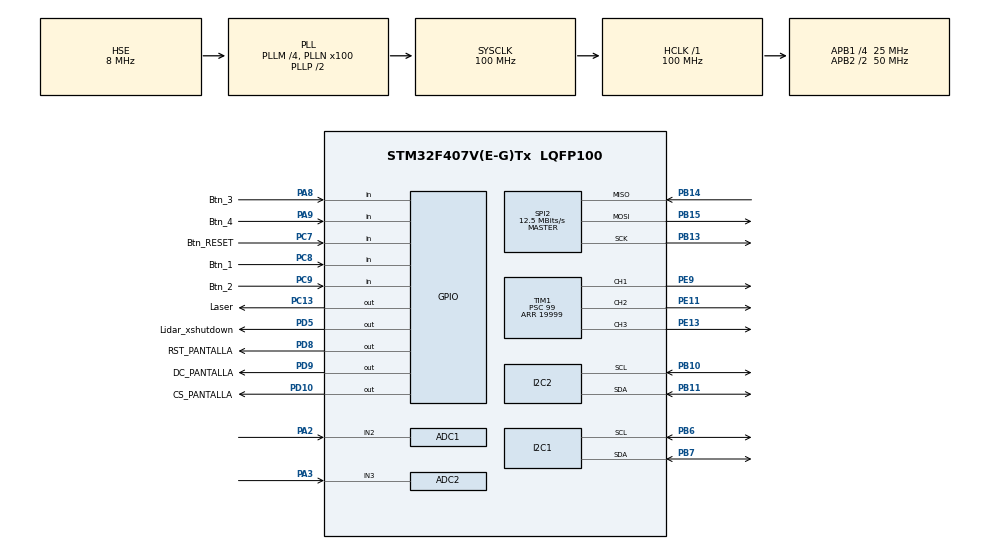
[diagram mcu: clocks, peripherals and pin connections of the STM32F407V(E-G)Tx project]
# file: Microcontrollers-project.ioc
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ADC1.Channel-0\#ChannelRegularConversion=ADC_CHANNEL_2
ADC1.ClockPrescaler=ADC_CLOCK_SYNC_PCLK_DIV4
ADC1.ContinuousConvMode=DISABLE
ADC1.NbrOfConversionFlag=1
ADC1.Rank-0\#ChannelRegularConversion=1
ADC1.SamplingTime-0\#ChannelRegularConversion=ADC_SAMPLETIME_84CYCLES
ADC1.ScanConvMode=ENABLE
ADC1.master=1
ADC2.Channel-0\#ChannelRegularConversion=ADC_CHANNEL_3
ADC2.ClockPrescaler=ADC_CLOCK_SYNC_PCLK_DIV4
ADC2.ContinuousConvMode=DISABLE
ADC2.NbrOfConversionFlag=1
ADC2.Rank-0\#ChannelRegularConversion=1
ADC2.SamplingTime-0\#ChannelRegularConversion=ADC_SAMPLETIME_84CYCLES
ADC2.ScanConvMode=ENABLE
Dma.Request0=SPI2_TX
Dma.SPI2_TX.0.Direction=DMA_MEMORY_TO_PERIPH
Dma.SPI2_TX.0.FIFOMode=DMA_FIFOMODE_ENABLE
Dma.SPI2_TX.0.FIFOThreshold=DMA_FIFO_THRESHOLD_FULL
Dma.SPI2_TX.0.Instance=DMA1_Stream4
Dma.SPI2_TX.0.MemBurst=DMA_MBURST_SINGLE
Dma.SPI2_TX.0.MemDataAlignment=DMA_MDATAALIGN_BYTE
Dma.SPI2_TX.0.MemInc=DMA_MINC_ENABLE
Dma.SPI2_TX.0.Mode=DMA_NORMAL
Dma.SPI2_TX.0.PeriphBurst=DMA_PBURST_SINGLE
Dma.SPI2_TX.0.PeriphDataAlignment=DMA_PDATAALIGN_BYTE
Dma.SPI2_TX.0.PeriphInc=DMA_PINC_DISABLE
Dma.SPI2_TX.0.Priority=DMA_PRIORITY_LOW
Mcu.Family=STM32F4
Mcu.Name=STM32F407V(E-G)Tx
Mcu.Package=LQFP100
NVIC.DMA1_Stream4_IRQn=true\:0\:0\:false\:false\:true\:false\:true\:true
NVIC.PriorityGroup=NVIC_PRIORITYGROUP_0
NVIC.SPI2_IRQn=true\:0\:0\:false\:false\:true\:true\:true\:true
PA2.Signal=ADCx_IN2
PA3.Signal=ADCx_IN3
PA8.GPIO_Label=Btn_3
PA8.GPIO_PuPd=GPIO_PULLUP
PA8.Signal=GPIO_Input
PA9.GPIO_Label=Btn_4
PA9.GPIO_PuPd=GPIO_PULLUP
PA9.Signal=GPIO_Input
PB10.Mode=I2C
PB10.Signal=I2C2_SCL
PB11.Mode=I2C
PB11.Signal=I2C2_SDA
PB13.Mode=Full_Duplex_Master
PB13.Signal=SPI2_SCK
PB14.Mode=Full_Duplex_Master
PB14.Signal=SPI2_MISO
PB15.Mode=Full_Duplex_Master
PB15.Signal=SPI2_MOSI
PB6.Mode=I2C
PB6.Signal=I2C1_SCL
PB7.Mode=I2C
PB7.Signal=I2C1_SDA
PC13-ANTI_TAMP.GPIO_Label=Laser
PC13-ANTI_TAMP.Signal=GPIO_Output
PC7.GPIO_Label=Btn_RESET
PC7.GPIO_PuPd=GPIO_PULLUP
PC7.Signal=GPIO_Input
PC8.GPIO_Label=Btn_1
PC8.GPIO_PuPd=GPIO_PULLUP
PC8.Signal=GPIO_Input
PC9.GPIO_Label=Btn_2
PC9.GPIO_PuPd=GPIO_PULLUP
PC9.Signal=GPIO_Input
PD10.GPIO_Label=CS_PANTALLA
PD10.Signal=GPIO_Output
PD5.GPIO_Label=Lidar_xshutdown
PD5.Signal=GPIO_Output
PD8.GPIO_Label=RST_PANTALLA
PD8.Signal=GPIO_Output
PD9.GPIO_Label=DC_PANTALLA
PD9.Signal=GPIO_Output
PE11.Signal=S_TIM1_CH2
PE13.Signal=S_TIM1_CH3
PE9.Signal=S_TIM1_CH1
PH0-OSC_IN.Mode=HSE-External-Oscillator
PH0-OSC_IN.Signal=RCC_OSC_IN
PH1-OSC_OUT.Mode=HSE-External-Oscillator
PH1-OSC_OUT.Signal=RCC_OSC_OUT
ProjectManager.HeapSize=0x200
ProjectManager.StackSize=0x400
ProjectManager.TargetToolchain=STM32CubeIDE
RCC.48MHZClocksFreq_Value=28571428.57142857
RCC.AHBFreq_Value=100000000
RCC.APB1CLKDivider=RCC_HCLK_DIV4
RCC.APB1Freq_Value=25000000
RCC.APB1TimFreq_Value=50000000
RCC.APB2CLKDivider=RCC_HCLK_DIV2
RCC.APB2Freq_Value=50000000
RCC.APB2TimFreq_Value=100000000
RCC.CortexFreq_Value=100000000
RCC.HCLKFreq_Value=100000000
RCC.HSE_VALUE=8000000
RCC.HSI_VALUE=16000000
RCC.LSE_VALUE=32768
RCC.PLLM=4
RCC.PLLN=100
RCC.PLLQ=7
RCC.PLLSourceVirtual=RCC_PLLSOURCE_HSE
RCC.SYSCLKFreq_VALUE=100000000
RCC.SYSCLKSource=RCC_SYSCLKSOURCE_PLLCLK
RCC.VCOOutputFreq_Value=200000000
SH.ADCx_IN2.0=ADC1_IN2,IN2
SH.ADCx_IN3.0=ADC2_IN3,IN3
SH.S_TIM1_CH1.0=TIM1_CH1,PWM Generation1 CH1
SH.S_TIM1_CH2.0=TIM1_CH2,PWM Generation2 CH2
SH.S_TIM1_CH3.0=TIM1_CH3,PWM Generation3 CH3
SPI2.BaudRatePrescaler=SPI_BAUDRATEPRESCALER_2
SPI2.CLKPolarity=SPI_POLARITY_LOW
SPI2.CalculateBaudRate=12.5 MBits/s
SPI2.Direction=SPI_DIRECTION_2LINES
SPI2.Mode=SPI_MODE_MASTER
SPI2.VirtualType=VM_MASTER
TIM1.Channel-PWM\ Generation1\ CH1=TIM_CHANNEL_1
TIM1.Channel-PWM\ Generation2\ CH2=TIM_CHANNEL_2
TIM1.Channel-PWM\ Generation3\ CH3=TIM_CHANNEL_3
TIM1.Period=19999
TIM1.Prescaler=99
VP_TIM1_VS_ClockSourceINT.Mode=Internal
board=STM32F407G-DISC1

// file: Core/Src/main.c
/* USER CODE BEGIN Header */
/**
  ******************************************************************************
  * @file           : main.c
  * @brief          : Main program body
  ******************************************************************************
  * @attention
  *
  * Copyright (c) 2025 STMicroelectronics.
  * All rights reserved.
  *
  * This software is licensed under terms that can be found in the LICENSE file
  * in the root directory of this software component.
  * If no LICENSE file comes with this software, it is provided AS-IS.
  *
  ******************************************************************************
  */
/* USER CODE END Header */
#include "main.h"

/* USER CODE BEGIN Includes */
#include "sensor_distancia.h"
#include "Radar.h"
#include "Laser.h"
#include "posicion_pool.h"
#include "mapa.h"
#include <stdio.h>
#include <string.h>
#include "liquidcrystal_i2c.h"
#include "lcd.h"
#include "botones.h"
#include "system_vars.h"
#include "menus.h"
/* USER CODE END Includes */

ADC_HandleTypeDef hadc1;
ADC_HandleTypeDef hadc2;

I2C_HandleTypeDef hi2c1;
I2C_HandleTypeDef hi2c2;

SPI_HandleTypeDef hspi2;
DMA_HandleTypeDef hdma_spi2_tx;

TIM_HandleTypeDef htim1;

/* USER CODE BEGIN PV */

  // Sensor de distancia
  VL53L0X_RangingMeasurementData_t RangingData;

  //generales
  uint16_t num_objetivos;
  uint16_t num_abatidos;

   uint8_t flag_boton_siguiente_objetivo=0;
   uint8_t flag_disparo=0;

  FireMode modo_disparo;
  RotMode  modo_rotacion;

  uint16_t grados_rot;
  uint16_t distancia_maxima=1500;
  uint16_t distancia_minima=100;
  uint16_t distancia_actual;

  //variables Potenciometro ADC
  volatile uint16_t  lectura_pote_1;
  volatile uint16_t  lectura_pote_2;
  volatile uint8_t  adc_ready_1 = 0;
  volatile uint8_t  adc_ready_2 = 0;

  //botones
  Boton b_cambio_menu;
  Boton b_seleccion_menu;
  Boton b_seleccion_objetivo;
  Boton b_disparo;
  Boton b_RESET;

/* USER CODE END PV */

void SystemClock_Config(void);
static void MX_GPIO_Init(void);
static void MX_DMA_Init(void);
static void MX_I2C1_Init(void);
static void MX_SPI2_Init(void);
static void MX_ADC1_Init(void);
static void MX_ADC2_Init(void);
static void MX_I2C2_Init(void);
static void MX_TIM1_Init(void);

/* USER CODE BEGIN 0 */

//Potenciometro ADC
void ADC_IRQHandler(void)
{
  HAL_ADC_IRQHandler(&hadc1);
  HAL_ADC_IRQHandler(&hadc2);
}

void HAL_ADC_ConvCpltCallback(ADC_HandleTypeDef *hadc)
{
  if (hadc->Instance == ADC1)
  {
    lectura_pote_1 = (uint16_t)HAL_ADC_GetValue(hadc);
    adc_ready_1 = 1;
    //HAL_ADC_Start_IT(&hadc1);
  }
  else if (hadc->Instance == ADC2)
  {
    lectura_pote_2 = (uint16_t)HAL_ADC_GetValue(hadc);
    adc_ready_2 = 1;
    //HAL_ADC_Start_IT(&hadc2);
  }
}

/* USER CODE END 0 */

int main(void)
{

  /* MCU Configuration--------------------------------------------------------*/

  /* Reset of all peripherals, Initializes the Flash interface and the Systick. */
  HAL_Init();

  /* USER CODE BEGIN Init */

  //uint8_t flag_modo_manual = 1; //funcionamiento de la torreta deetrminado por modo manual o automatico. HAY QUE ASIGNARLE SWICH
  //uint8_t flag_disparo = 0;

 // Posicion* Objetivo;
  //int angulo_Laser_Horizontal = 1000;

  /* USER CODE END Init */

  /* Configure the system clock */
  SystemClock_Config();

  /* Initialize all configured peripherals */
  MX_GPIO_Init();
  MX_DMA_Init();
  MX_I2C1_Init();
  MX_SPI2_Init();
  MX_ADC1_Init();
  MX_ADC2_Init();
  MX_I2C2_Init();
  MX_TIM1_Init();
  /* USER CODE BEGIN 2 */
  HAL_TIM_PWM_Start(&htim1, TIM_CHANNEL_1);	// Posicion del radar
  HAL_TIM_PWM_Start(&htim1, TIM_CHANNEL_2);	// Posicion horizontal del laser
  HAL_TIM_PWM_Start(&htim1, TIM_CHANNEL_3);	// Posicion verticar del laser

  pool_init();
  mapa_init();
  LidarPreparacionFuncionamiento(&hi2c1);

  //Potenciometro ADC
  HAL_NVIC_EnableIRQ(ADC_IRQn);

  if (HAL_ADC_Start_IT(&hadc1) != HAL_OK)
  {
	  Error_Handler();
  }
  if (HAL_ADC_Start_IT(&hadc2) != HAL_OK)
  {
  	  Error_Handler();
  }

  //Botones
  Boton_Init(&b_cambio_menu, GPIOC, Btn_1_Pin, 0);             //pull-up interno
  Boton_Init(&b_seleccion_menu,  GPIOC, Btn_2_Pin, 0);         //pull-up interno
  Boton_Init(&b_seleccion_objetivo,  GPIOA, Btn_3_Pin, 0);     //pull-up interno
  Boton_Init(&b_disparo,  GPIOA, Btn_4_Pin, 0);                //pull-up interno
  Boton_Init(&b_RESET,  GPIOC, Btn_RESET_Pin, 0);                  //pull-up interno

  //Inicializacion archivos LCD
  HD44780_Init(2);
  LCD_Init();

  /* USER CODE END 2 */

  /* Infinite loop */
  while (1)
  {

    /* USER CODE BEGIN 3 */
	movimiento_radar(&RangingData, &htim1, 10);	// mueve un step el motor el sensor mide la distancia y guarda los datos

//-------------------------CODE POTES (INTERRUPCIONES) ----------------------------------

    //prueba potes
    if (adc_ready_1)
    {
    	adc_ready_1 = 0;
    	grados_rot = (uint16_t)((lectura_pote_1 * 2500U) / 4095U);
    }
    if (adc_ready_2)
    {
        adc_ready_2 = 0;
        distancia_actual = (uint16_t)(distancia_minima + ((lectura_pote_2 * (distancia_maxima - distancia_minima)) / 4095U));
    }
    static uint32_t t_adc = 0;

    //hacemos que se relancen las interrupciones cada 10ms para no comer la CPU
    if (HAL_GetTick() - t_adc >= 10) {
      t_adc = HAL_GetTick();
      HAL_ADC_Start_IT(&hadc1);
      HAL_ADC_Start_IT(&hadc2);
    }

//---------------------------------------------------------------------------------------

    //las cositas de ainara

        	radar_rotacion_mode(grados_rot);
            mapa_dibuja(); //dibuja los objetivos

//---------------------------------------------------------------------------------------

    //usamos los botones para interactuar con el menu
    uint32_t now = HAL_GetTick();
   	BtnEvent evM = Boton_Update(&b_cambio_menu, now);
   	BtnEvent evS = Boton_Update(&b_seleccion_menu,  now);
   	BtnEvent evR = Boton_Update(&b_RESET,  now);

   	//botones laser
   	BtnEvent ev_boton_disparo = Boton_Update(&b_disparo, now);
   	BtnEvent ev_boton_siguiente_objetivo = Boton_Update(&b_seleccion_objetivo, now);

   	laser_rotacion_mode(&htim1, &ev_boton_siguiente_objetivo, &ev_boton_disparo);

   	//actualizamos menu
   	Menus_Task(&htim1, evM, evS, evR, now);

   	//actualizamos LCD para mostrar cambios
   	LCD_Task();

   	// Funcion del reset general que llame al resto de resets y sea bloqueante
   	BtnEvent reset = Boton_Update(&b_RESET, now);
   	if(reset == BTN_EVENT_SHORT){

   		// aqui falta el menu reset

   	}

  }
  /* USER CODE END 3 */
}

void SystemClock_Config(void)
{
  RCC_OscInitTypeDef RCC_OscInitStruct = {0};
  RCC_ClkInitTypeDef RCC_ClkInitStruct = {0};

  /** Configure the main internal regulator output voltage
  */
  __HAL_RCC_PWR_CLK_ENABLE();
  __HAL_PWR_VOLTAGESCALING_CONFIG(PWR_REGULATOR_VOLTAGE_SCALE1);

  /** Initializes the RCC Oscillators according to the specified parameters
  * in the RCC_OscInitTypeDef structure.
  */
  RCC_OscInitStruct.OscillatorType = RCC_OSCILLATORTYPE_HSE;
  RCC_OscInitStruct.HSEState = RCC_HSE_ON;
  RCC_OscInitStruct.PLL.PLLState = RCC_PLL_ON;
  RCC_OscInitStruct.PLL.PLLSource = RCC_PLLSOURCE_HSE;
  RCC_OscInitStruct.PLL.PLLM = 4;
  RCC_OscInitStruct.PLL.PLLN = 100;
  RCC_OscInitStruct.PLL.PLLP = RCC_PLLP_DIV2;
  RCC_OscInitStruct.PLL.PLLQ = 7;
  if (HAL_RCC_OscConfig(&RCC_OscInitStruct) != HAL_OK)
  {
    Error_Handler();
  }

  /** Initializes the CPU, AHB and APB buses clocks
  */
  RCC_ClkInitStruct.ClockType = RCC_CLOCKTYPE_HCLK|RCC_CLOCKTYPE_SYSCLK
                              |RCC_CLOCKTYPE_PCLK1|RCC_CLOCKTYPE_PCLK2;
  RCC_ClkInitStruct.SYSCLKSource = RCC_SYSCLKSOURCE_PLLCLK;
  RCC_ClkInitStruct.AHBCLKDivider = RCC_SYSCLK_DIV1;
  RCC_ClkInitStruct.APB1CLKDivider = RCC_HCLK_DIV4;
  RCC_ClkInitStruct.APB2CLKDivider = RCC_HCLK_DIV2;

  if (HAL_RCC_ClockConfig(&RCC_ClkInitStruct, FLASH_LATENCY_3) != HAL_OK)
  {
    Error_Handler();
  }
}

static void MX_ADC1_Init(void)
{

  ADC_ChannelConfTypeDef sConfig = {0};

  /** Configure the global features of the ADC (Clock, Resolution, Data Alignment and number of conversion)
  */
  hadc1.Instance = ADC1;
  hadc1.Init.ClockPrescaler = ADC_CLOCK_SYNC_PCLK_DIV4;
  hadc1.Init.Resolution = ADC_RESOLUTION_12B;
  hadc1.Init.ScanConvMode = ENABLE;
  hadc1.Init.ContinuousConvMode = DISABLE;
  hadc1.Init.DiscontinuousConvMode = DISABLE;
  hadc1.Init.ExternalTrigConvEdge = ADC_EXTERNALTRIGCONVEDGE_NONE;
  hadc1.Init.ExternalTrigConv = ADC_SOFTWARE_START;
  hadc1.Init.DataAlign = ADC_DATAALIGN_RIGHT;
  hadc1.Init.NbrOfConversion = 1;
  hadc1.Init.DMAContinuousRequests = DISABLE;
  hadc1.Init.EOCSelection = ADC_EOC_SINGLE_CONV;
  if (HAL_ADC_Init(&hadc1) != HAL_OK)
  {
    Error_Handler();
  }

  /** Configure for the selected ADC regular channel its corresponding rank in the sequencer and its sample time.
  */
  sConfig.Channel = ADC_CHANNEL_2;
  sConfig.Rank = 1;
  sConfig.SamplingTime = ADC_SAMPLETIME_84CYCLES;
  if (HAL_ADC_ConfigChannel(&hadc1, &sConfig) != HAL_OK)
  {
    Error_Handler();
  }

}

static void MX_ADC2_Init(void)
{

  ADC_ChannelConfTypeDef sConfig = {0};

  /** Configure the global features of the ADC (Clock, Resolution, Data Alignment and number of conversion)
  */
  hadc2.Instance = ADC2;
  hadc2.Init.ClockPrescaler = ADC_CLOCK_SYNC_PCLK_DIV4;
  hadc2.Init.Resolution = ADC_RESOLUTION_12B;
  hadc2.Init.ScanConvMode = ENABLE;
  hadc2.Init.ContinuousConvMode = DISABLE;
  hadc2.Init.DiscontinuousConvMode = DISABLE;
  hadc2.Init.ExternalTrigConvEdge = ADC_EXTERNALTRIGCONVEDGE_NONE;
  hadc2.Init.ExternalTrigConv = ADC_SOFTWARE_START;
  hadc2.Init.DataAlign = ADC_DATAALIGN_RIGHT;
  hadc2.Init.NbrOfConversion = 1;
  hadc2.Init.DMAContinuousRequests = DISABLE;
  hadc2.Init.EOCSelection = ADC_EOC_SINGLE_CONV;
  if (HAL_ADC_Init(&hadc2) != HAL_OK)
  {
    Error_Handler();
  }

  /** Configure for the selected ADC regular channel its corresponding rank in the sequencer and its sample time.
  */
  sConfig.Channel = ADC_CHANNEL_3;
  sConfig.Rank = 1;
  sConfig.SamplingTime = ADC_SAMPLETIME_84CYCLES;
  if (HAL_ADC_ConfigChannel(&hadc2, &sConfig) != HAL_OK)
  {
    Error_Handler();
  }

}

static void MX_I2C1_Init(void)
{

  hi2c1.Instance = I2C1;
  hi2c1.Init.ClockSpeed = 100000;
  hi2c1.Init.DutyCycle = I2C_DUTYCYCLE_2;
  hi2c1.Init.OwnAddress1 = 0;
  hi2c1.Init.AddressingMode = I2C_ADDRESSINGMODE_7BIT;
  hi2c1.Init.DualAddressMode = I2C_DUALADDRESS_DISABLE;
  hi2c1.Init.OwnAddress2 = 0;
  hi2c1.Init.GeneralCallMode = I2C_GENERALCALL_DISABLE;
  hi2c1.Init.NoStretchMode = I2C_NOSTRETCH_DISABLE;
  if (HAL_I2C_Init(&hi2c1) != HAL_OK)
  {
    Error_Handler();
  }

}

static void MX_I2C2_Init(void)
{

  hi2c2.Instance = I2C2;
  hi2c2.Init.ClockSpeed = 100000;
  hi2c2.Init.DutyCycle = I2C_DUTYCYCLE_2;
  hi2c2.Init.OwnAddress1 = 0;
  hi2c2.Init.AddressingMode = I2C_ADDRESSINGMODE_7BIT;
  hi2c2.Init.DualAddressMode = I2C_DUALADDRESS_DISABLE;
  hi2c2.Init.OwnAddress2 = 0;
  hi2c2.Init.GeneralCallMode = I2C_GENERALCALL_DISABLE;
  hi2c2.Init.NoStretchMode = I2C_NOSTRETCH_DISABLE;
  if (HAL_I2C_Init(&hi2c2) != HAL_OK)
  {
    Error_Handler();
  }

}

static void MX_SPI2_Init(void)
{

  /* SPI2 parameter configuration*/
  hspi2.Instance = SPI2;
  hspi2.Init.Mode = SPI_MODE_MASTER;
  hspi2.Init.Direction = SPI_DIRECTION_2LINES;
  hspi2.Init.DataSize = SPI_DATASIZE_8BIT;
  hspi2.Init.CLKPolarity = SPI_POLARITY_LOW;
  hspi2.Init.CLKPhase = SPI_PHASE_1EDGE;
  hspi2.Init.NSS = SPI_NSS_SOFT;
  hspi2.Init.BaudRatePrescaler = SPI_BAUDRATEPRESCALER_2;
  hspi2.Init.FirstBit = SPI_FIRSTBIT_MSB;
  hspi2.Init.TIMode = SPI_TIMODE_DISABLE;
  hspi2.Init.CRCCalculation = SPI_CRCCALCULATION_DISABLE;
  hspi2.Init.CRCPolynomial = 10;
  if (HAL_SPI_Init(&hspi2) != HAL_OK)
  {
    Error_Handler();
  }

}

static void MX_TIM1_Init(void)
{

  TIM_ClockConfigTypeDef sClockSourceConfig = {0};
  TIM_MasterConfigTypeDef sMasterConfig = {0};
  TIM_OC_InitTypeDef sConfigOC = {0};
  TIM_BreakDeadTimeConfigTypeDef sBreakDeadTimeConfig = {0};

  htim1.Instance = TIM1;
  htim1.Init.Prescaler = 99;
  htim1.Init.CounterMode = TIM_COUNTERMODE_UP;
  htim1.Init.Period = 19999;
  htim1.Init.ClockDivision = TIM_CLOCKDIVISION_DIV1;
  htim1.Init.RepetitionCounter = 0;
  htim1.Init.AutoReloadPreload = TIM_AUTORELOAD_PRELOAD_DISABLE;
  if (HAL_TIM_Base_Init(&htim1) != HAL_OK)
  {
    Error_Handler();
  }
  sClockSourceConfig.ClockSource = TIM_CLOCKSOURCE_INTERNAL;
  if (HAL_TIM_ConfigClockSource(&htim1, &sClockSourceConfig) != HAL_OK)
  {
    Error_Handler();
  }
  if (HAL_TIM_PWM_Init(&htim1) != HAL_OK)
  {
    Error_Handler();
  }
  sMasterConfig.MasterOutputTrigger = TIM_TRGO_RESET;
  sMasterConfig.MasterSlaveMode = TIM_MASTERSLAVEMODE_DISABLE;
  if (HAL_TIMEx_MasterConfigSynchronization(&htim1, &sMasterConfig) != HAL_OK)
  {
    Error_Handler();
  }
  sConfigOC.OCMode = TIM_OCMODE_PWM1;
  sConfigOC.Pulse = 0;
  sConfigOC.OCPolarity = TIM_OCPOLARITY_HIGH;
  sConfigOC.OCNPolarity = TIM_OCNPOLARITY_HIGH;
  sConfigOC.OCFastMode = TIM_OCFAST_DISABLE;
  sConfigOC.OCIdleState = TIM_OCIDLESTATE_RESET;
  sConfigOC.OCNIdleState = TIM_OCNIDLESTATE_RESET;
  if (HAL_TIM_PWM_ConfigChannel(&htim1, &sConfigOC, TIM_CHANNEL_1) != HAL_OK)
  {
    Error_Handler();
  }
  if (HAL_TIM_PWM_ConfigChannel(&htim1, &sConfigOC, TIM_CHANNEL_2) != HAL_OK)
  {
    Error_Handler();
  }
  if (HAL_TIM_PWM_ConfigChannel(&htim1, &sConfigOC, TIM_CHANNEL_3) != HAL_OK)
  {
    Error_Handler();
  }
  sBreakDeadTimeConfig.OffStateRunMode = TIM_OSSR_DISABLE;
  sBreakDeadTimeConfig.OffStateIDLEMode = TIM_OSSI_DISABLE;
  sBreakDeadTimeConfig.LockLevel = TIM_LOCKLEVEL_OFF;
  sBreakDeadTimeConfig.DeadTime = 0;
  sBreakDeadTimeConfig.BreakState = TIM_BREAK_DISABLE;
  sBreakDeadTimeConfig.BreakPolarity = TIM_BREAKPOLARITY_HIGH;
  sBreakDeadTimeConfig.AutomaticOutput = TIM_AUTOMATICOUTPUT_DISABLE;
  if (HAL_TIMEx_ConfigBreakDeadTime(&htim1, &sBreakDeadTimeConfig) != HAL_OK)
  {
    Error_Handler();
  }
  HAL_TIM_MspPostInit(&htim1);

}

static void MX_DMA_Init(void)
{

  /* DMA controller clock enable */
  __HAL_RCC_DMA1_CLK_ENABLE();

  /* DMA interrupt init */
  /* DMA1_Stream4_IRQn interrupt configuration */
  HAL_NVIC_SetPriority(DMA1_Stream4_IRQn, 0, 0);
  HAL_NVIC_EnableIRQ(DMA1_Stream4_IRQn);

}

static void MX_GPIO_Init(void)
{
  GPIO_InitTypeDef GPIO_InitStruct = {0};

  /* GPIO Ports Clock Enable */
  __HAL_RCC_GPIOC_CLK_ENABLE();
  __HAL_RCC_GPIOH_CLK_ENABLE();
  __HAL_RCC_GPIOA_CLK_ENABLE();
  __HAL_RCC_GPIOE_CLK_ENABLE();
  __HAL_RCC_GPIOB_CLK_ENABLE();
  __HAL_RCC_GPIOD_CLK_ENABLE();

  /*Configure GPIO pin Output Level */
  HAL_GPIO_WritePin(Laser_GPIO_Port, Laser_Pin, GPIO_PIN_RESET);

  /*Configure GPIO pin Output Level */
  HAL_GPIO_WritePin(GPIOD, RST_PANTALLA_Pin|DC_PANTALLA_Pin|CS_PANTALLA_Pin|Lidar_xshutdown_Pin, GPIO_PIN_RESET);

  /*Configure GPIO pin : Laser_Pin */
  GPIO_InitStruct.Pin = Laser_Pin;
  GPIO_InitStruct.Mode = GPIO_MODE_OUTPUT_PP;
  GPIO_InitStruct.Pull = GPIO_NOPULL;
  GPIO_InitStruct.Speed = GPIO_SPEED_FREQ_LOW;
  HAL_GPIO_Init(Laser_GPIO_Port, &GPIO_InitStruct);

  /*Configure GPIO pins : RST_PANTALLA_Pin DC_PANTALLA_Pin CS_PANTALLA_Pin Lidar_xshutdown_Pin */
  GPIO_InitStruct.Pin = RST_PANTALLA_Pin|DC_PANTALLA_Pin|CS_PANTALLA_Pin|Lidar_xshutdown_Pin;
  GPIO_InitStruct.Mode = GPIO_MODE_OUTPUT_PP;
  GPIO_InitStruct.Pull = GPIO_NOPULL;
  GPIO_InitStruct.Speed = GPIO_SPEED_FREQ_LOW;
  HAL_GPIO_Init(GPIOD, &GPIO_InitStruct);

  /*Configure GPIO pins : Btn_RESET_Pin Btn_1_Pin Btn_2_Pin */
  GPIO_InitStruct.Pin = Btn_RESET_Pin|Btn_1_Pin|Btn_2_Pin;
  GPIO_InitStruct.Mode = GPIO_MODE_INPUT;
  GPIO_InitStruct.Pull = GPIO_PULLUP;
  HAL_GPIO_Init(GPIOC, &GPIO_InitStruct);

  /*Configure GPIO pins : Btn_3_Pin Btn_4_Pin */
  GPIO_InitStruct.Pin = Btn_3_Pin|Btn_4_Pin;
  GPIO_InitStruct.Mode = GPIO_MODE_INPUT;
  GPIO_InitStruct.Pull = GPIO_PULLUP;
  HAL_GPIO_Init(GPIOA, &GPIO_InitStruct);

}

void Error_Handler(void)
{
  __disable_irq();
  while (1)
  {
  }
}
